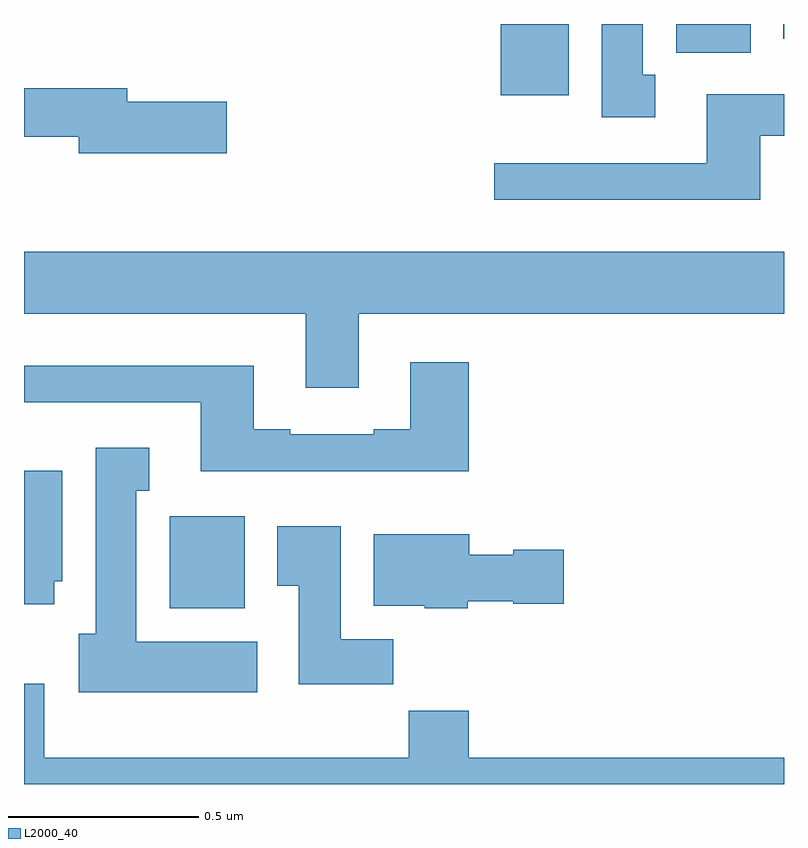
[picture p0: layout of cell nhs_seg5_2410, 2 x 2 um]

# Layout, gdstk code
import gdstk
lib = gdstk.Library(unit=1e-6, precision=1e-09)
def R(c, l, rs):  # rectangles x0, y0, x1, y1
    for r in rs: c.add(gdstk.rectangle(r[:2], r[2:], *l))
def P(c, l, *ps):  # polygons
    for p in ps: c.add(gdstk.Polygon(p, *l))
L2000_40 = (2000, 40)

nhs_seg5_2410 = lib.new_cell('nhs_seg5_2410')
R(nhs_seg5_2410, L2000_40, [(143.384,913.262,143.581,913.504), (144.254,914.612,144.433,914.799), (144.717,914.724,144.913,914.799), (144.998,914.76,145,914.799)])
P(nhs_seg5_2410, L2000_40, [(144.661,914.665),(144.628,914.665),(144.628,914.799),(144.521,914.799),(144.521,914.553),(144.661,914.553)],
  [(143.533,914.594),(143.272,914.594),(143.272,914.63),(143,914.63),(143,914.502),(143.144,914.502),(143.144,914.459),(143.533,914.459)],
  [(144.937,914.505),(145,914.505),(145,914.614),(144.797,914.614),(144.797,914.433),(144.237,914.433),(144.237,914.336),(144.937,914.336)],
  [(143.881,914.036),(145,914.036),(145,914.2),(143,914.2),(143,914.036),(143.741,914.036),(143.741,913.842),(143.881,913.842)],
  [(144.17,913.909),(144.017,913.909),(144.017,913.732),(143.921,913.732),(143.921,913.719),(143.701,913.719),(143.701,913.732),(143.605,913.732),(143.605,913.9),(143,913.9),(143,913.803),(143.465,913.803),(143.465,913.622),(144.17,913.622)],
  [(143.614,913.174),(143.296,913.174),(143.296,913.571),(143.329,913.571),(143.329,913.684),(143.189,913.684),(143.189,913.194),(143.144,913.194),(143.144,913.04),(143.614,913.04)],
  [(143.08,913.332),(143.101,913.332),(143.101,913.624),(143,913.624),(143,913.272),(143.08,913.272)],
  [(143.972,913.18),(143.833,913.18),(143.833,913.477),(143.666,913.477),(143.666,913.321),(143.723,913.321),(143.723,913.062),(143.972,913.062)],
  [(144.168,913.28),(144.288,913.28),(144.288,913.273),(144.421,913.273),(144.421,913.415),(144.288,913.415),(144.288,913.402),(144.172,913.402),(144.172,913.456),(143.921,913.456),(143.921,913.268),(144.054,913.268),(144.054,913.262),(144.168,913.262)],
  [(145,912.868),(144.17,912.868),(144.17,912.992),(144.013,912.992),(144.013,912.868),(143.053,912.868),(143.053,913.063),(143,913.063),(143,912.799),(145,912.799)])

lib.write_gds('nhs_seg5_2410.gds')
